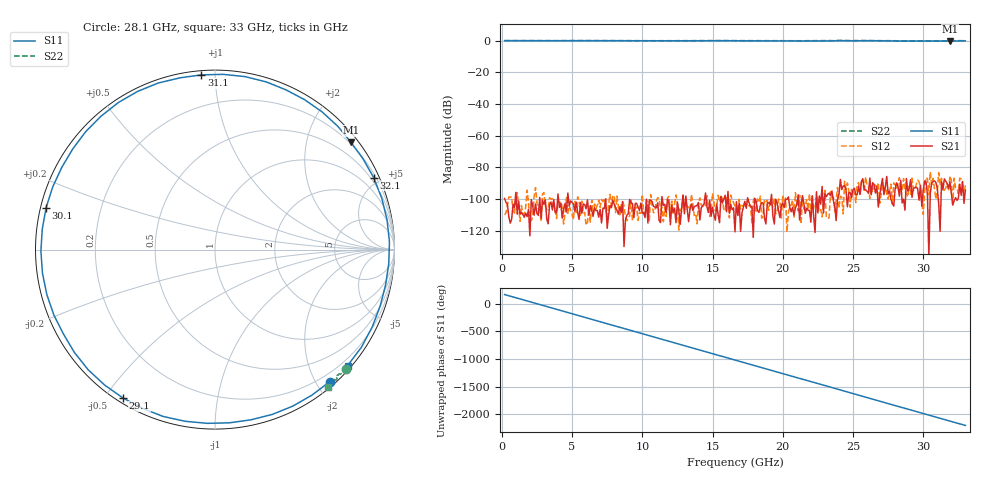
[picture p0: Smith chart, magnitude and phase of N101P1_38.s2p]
# GHZ S RI R 50
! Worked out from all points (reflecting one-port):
!   329 points, 200 MHz to 33 GHz, reference 50 ohm
!   lowest |S11| = -0.3 dB at 31.9 GHz (marker M1), VSWR 55.86, Z = 8.32 + j144 ohm
!   phase of S11 starts at 165 deg and turns -2367 deg over the sweep
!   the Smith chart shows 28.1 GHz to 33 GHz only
!   S11 on the Smith chart (normalised r, x): 28.1 GHz: 0.07, -2.19; 29.1 GHz: 0.02, -0.56; 30.1 GHz: 0.02, +0.12; 31.1 GHz: 0.02, +0.92; 32.1 GHz: 0.33, +4.60; 33 GHz: 0.07, -2.66
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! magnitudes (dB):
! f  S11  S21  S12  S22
! 200 MHz  0.0  -99.7  -110.2  0.0
! 5.7 GHz  0.0  -109.1  -101.5  0.0
! 11.2 GHz  -0.1  -113.7  -99.8  -0.1
! 16.6 GHz  -0.1  -120.8  -104.9  0.0
! 18.6 GHz  -0.2  -102.6  -109.5  -0.1
! 19.9 GHz  -0.2  -104.0  -112.5  -0.1
! 22.1 GHz  -0.2  -98.2  -97.5  0.0
! 22.7 GHz  -0.3  -103.4  -106.7  -0.1
! 23.3 GHz  -0.2  -96.4  -111.9  0.0
! 23.5 GHz  -0.2  -95.0  -99.4  -0.1
! 24 GHz  0.0  -97.4  -106.0  0.1
! 25.1 GHz  -0.1  -93.3  -96.1  0.1
! 25.7 GHz  0.0  -87.2  -88.7  0.0
! 27.6 GHz  -0.2  -95.1  -94.9  -0.1
! 28.1 GHz  -0.2  -89.9  -93.6  -0.1
! 29.1 GHz  -0.2  -87.9  -97.1  -0.1
! 30.1 GHz  -0.3  -88.8  -95.3  -0.2
! 30.8 GHz  -0.2  -88.6  -93.6  -0.1
! 31.1 GHz  -0.2  -103.0  -83.4  -0.1
! 31.9 GHz  -0.3  -89.3  -85.6  -0.1
! 32.1 GHz  -0.3  -103.9  -103.3  0.0
! 33 GHz  -0.2  -94.5  -91.3  -0.1
